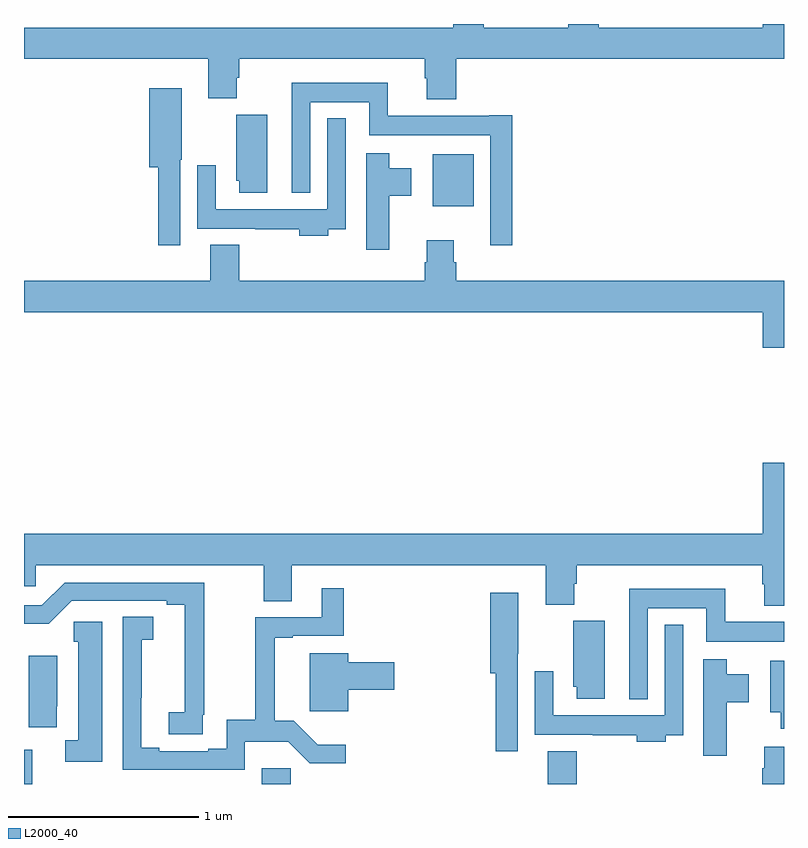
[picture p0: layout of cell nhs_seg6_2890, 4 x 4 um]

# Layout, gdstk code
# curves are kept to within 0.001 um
import gdstk
lib = gdstk.Library(unit=1e-6, precision=1e-09)
def R(c, l, rs):  # rectangles x0, y0, x1, y1
    for r in rs: c.add(gdstk.rectangle(r[:2], r[2:], *l))
def P(c, l, *ps):  # polygons
    for p in ps: c.add(gdstk.Polygon(p, *l))
L2000_40 = (2000, 40)

nhs_seg6_2890 = lib.new_cell('nhs_seg6_2890')
R(nhs_seg6_2890, L2000_40, [(281,963.5,281.044,963.679), (282.251,963.5,282.403,963.582), (283.757,963.5,283.91,963.673), (283.151,966.542,283.366,966.814)])
P(nhs_seg6_2890, L2000_40, [(283.274,967.316),(285,967.316),(285,967.5),(284.888,967.5),(284.888,967.48),(284.024,967.48),(284.024,967.5),(283.864,967.5),(283.864,967.48),(283.419,967.48),(283.419,967.5),(283.259,967.5),(283.259,967.48),(281,967.48),(281,967.316),(281.969,967.316),(281.969,967.108),(282.121,967.108),(282.121,967.217),(282.134,967.217),(282.134,967.316),(283.109,967.316),(283.109,967.215),(283.121,967.215),(283.121,967.103),(283.274,967.103)],
  [(283.571,967.021),(283.448,967.021),(283.448,967.018),(282.914,967.018),(282.914,967.192),(282.41,967.192),(282.41,966.611),(282.507,966.611),(282.507,967.088),(282.816,967.088),(282.816,966.914),(283.455,966.914),(283.455,966.336),(283.571,966.336)],
  [(281.823,966.786),(281.83,966.786),(281.83,967.162),(281.66,967.162),(281.66,966.746),(281.707,966.746),(281.707,966.336),(281.823,966.336)],
  [(282.28,967.023),(282.116,967.023),(282.116,966.675),(282.134,966.675),(282.134,966.612),(282.28,966.612)],
  [(282.601,966.42),(282.693,966.42),(282.693,967.003),(282.597,967.003),(282.597,966.526),(282.009,966.526),(282.009,966.757),(281.913,966.757),(281.913,966.422),(282.217,966.422),(282.217,966.42),(282.449,966.42),(282.449,966.386),(282.601,966.386)],
  [(282.922,966.595),(283.039,966.595),(283.039,966.742),(282.922,966.742),(282.922,966.82),(282.8,966.82),(282.8,966.312),(282.922,966.312)],
  [(285,966.148),(283.274,966.148),(283.274,966.246),(283.261,966.246),(283.261,966.361),(283.121,966.361),(283.121,966.246),(283.109,966.246),(283.109,966.148),(282.134,966.148),(282.134,966.337),(281.981,966.337),(281.981,966.148),(281,966.148),(281,965.984),(284.888,965.984),(284.888,965.796),(285,965.796)],
  [(285,965.191),(284.888,965.191),(284.888,964.816),(281,964.816),(281,964.542),(281.061,964.542),(281.061,964.652),(282.262,964.652),(282.262,964.462),(282.409,964.462),(282.409,964.652),(283.745,964.652),(283.745,964.444),(283.897,964.444),(283.897,964.553),(283.91,964.553),(283.91,964.652),(284.885,964.652),(284.885,964.551),(284.897,964.551),(284.897,964.439),(285,964.439)],
  [(281.942,963.865),(281.948,963.865),(281.948,964.56),(281.214,964.56),(281.094,964.44),(281,964.44),(281,964.343),(281.129,964.343),(281.25,964.464),(281.75,964.464),(281.75,964.444),(281.846,964.444),(281.845,963.878),(281.763,963.878),(281.763,963.763),(281.942,963.763)],
  [(282.162,963.722),(282.391,963.722),(282.504,963.609),(282.694,963.609),(282.694,963.706),(282.545,963.706),(282.419,963.832),(282.32,963.832),(282.32,964.269),(282.415,964.269),(282.415,964.281),(282.683,964.281),(282.683,964.531),(282.566,964.531),(282.566,964.377),(282.217,964.377),(282.217,963.839),(282.066,963.839),(282.066,963.686),(281.969,963.686),(281.969,963.672),(281.713,963.672),(281.713,963.692),(281.617,963.692),(281.617,963.955),(281.619,963.955),(281.619,964.259),(281.68,964.259),(281.68,964.379),(281.52,964.379),(281.52,963.576),(282.162,963.576)],
  [(284.283,964.424),(284.592,964.424),(284.592,964.25),(285,964.25),(285,964.354),(284.69,964.354),(284.69,964.528),(284.186,964.528),(284.186,963.947),(284.283,963.947)],
  [(283.599,964.186),(283.6,964.186),(283.6,964.507),(283.454,964.507),(283.454,964.082),(283.483,964.082),(283.483,963.672),(283.599,963.672)],
  [(284.056,964.359),(283.892,964.359),(283.892,964.011),(283.91,964.011),(283.91,963.948),(284.056,963.948)],
  [(281.413,964.354),(281.263,964.354),(281.263,964.248),(281.285,964.248),(281.285,963.729),(281.217,963.729),(281.217,963.617),(281.413,963.617)],
  [(284.377,963.756),(284.469,963.756),(284.469,964.339),(284.373,964.339),(284.373,963.862),(283.785,963.862),(283.785,964.093),(283.689,964.093),(283.689,963.758),(283.993,963.758),(283.993,963.756),(284.225,963.756),(284.225,963.722),(284.377,963.722)],
  [(282.706,963.995),(282.949,963.995),(282.949,964.142),(282.706,964.142),(282.706,964.189),(282.503,964.189),(282.503,963.884),(282.706,963.884)],
  [(281.173,963.91),(281.176,963.91),(281.176,964.174),(281.024,964.174),(281.024,963.798),(281.173,963.798)],
  [(284.698,963.931),(284.815,963.931),(284.815,964.078),(284.698,964.078),(284.698,964.156),(284.576,964.156),(284.576,963.648),(284.698,963.648)],
  [(285,964.15),(284.927,964.15),(284.927,963.878),(284.984,963.878),(284.984,963.792),(285,963.792)],
  [(285,963.697),(284.897,963.697),(284.897,963.582),(284.885,963.582),(284.885,963.5),(285,963.5)])

lib.write_gds('nhs_seg6_2890.gds')
